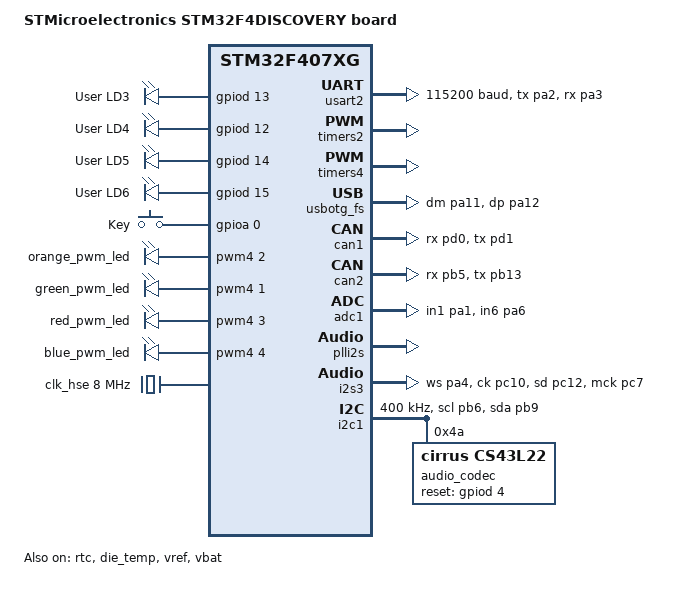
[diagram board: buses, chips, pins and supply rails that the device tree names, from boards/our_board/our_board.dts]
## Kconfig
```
menuconfig LED_SUBSYSTEM
	bool "LED Subsystem"
	default y

if LED_SUBSYSTEM
	choice
		prompt  "LED blink sleep time (1s (medium))"
		default BLINK_SLEEP_1000MS

		config BLINK_SLEEP_250MS
			bool "Very Fast"

		config BLINK_SLEEP_500MS
			bool "Fast"

		config BLINK_SLEEP_1000MS
			bool "Medium"

		config BLINK_SLEEP_2000MS
			bool "Slow"

	endchoice

	config BLINK_SLEEP_TIME_MS
		int
		default 250 if BLINK_SLEEP_250MS
		default 500 if BLINK_SLEEP_500MS
		default 1000 if BLINK_SLEEP_1000MS
		default 2000 if BLINK_SLEEP_2000MS
		default 0

	menuconfig ADVANCED_LED_SETTINGS
		bool "Advance LED Settings"
		default n

	if ADVANCED_LED_SETTINGS
		config LED_BRIGHTNESS
			int "LED Brightness (0-100)"
			default 100
			range 0 100

		config LED_FADE_DURATION
			int "LED Fade duration (ms)"
			default 500
	endif
	menu "Expert Settings"
		visible if ADVANCED_LED_SETTINGS

	config LED_DEBUG
		bool "Enable LED Debug"

	config CUSTOM_BUILD_PATTERN
		bool "Custom Build Pattern"

	endmenu
endif

config LED_HEARTBEAT_PERIOD_MS
	int "LED Heart beats (ms)"
	default 500
	range 100 2000

source "Kconfig.zephyr"
rsource "drivers/our_driver/Kconfig"
```

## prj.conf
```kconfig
CONFIG_GPIO=y
CONFIG_LOG=y
#CONFIG_BLINK_SLEEP_TIME_MS=100
CONFIG_OUR_DRIVER=y
CONFIG_SHELL=y
CONFIG_SHELL_BACKEND_SERIAL=y
```

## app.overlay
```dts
/{
    our_driver0: our_driver {
        compatible = "our,driver";
        status = "okay";
    };

    our_driver1: our_driver1 {
        compatible = "our,driver";
        status = "okay";
    };
};
```

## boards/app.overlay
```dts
/ {
	aliases {
		app-led = &green_led_4;
	};
};
```

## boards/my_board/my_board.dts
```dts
/*
 * Copyright (c) 2017 Linaro Limited
 *
 * SPDX-License-Identifier: Apache-2.0
 */

/dts-v1/;
#include <st/f4/stm32f407Xg.dtsi>
#include <st/f4/stm32f407v(e-g)tx-pinctrl.dtsi>

/ {
	model = "My board";
	compatible = "keval,my_board";

	chosen {
		zephyr,console = &usart2;
		zephyr,shell-uart = &usart2;
		zephyr,sram = &sram0;
		zephyr,flash = &flash0;
	};

	leds {
		compatible = "gpio-leds";

		orange_led_3: led_3 {
			gpios = <&gpiod 13 GPIO_ACTIVE_HIGH>;
			label = "User LD3";
		};

		green_led_4: led_4 {
			gpios = <&gpiod 12 GPIO_ACTIVE_HIGH>;
			label = "User LD4";
		};

		red_led_5: led_5 {
			gpios = <&gpiod 14 GPIO_ACTIVE_HIGH>;
			label = "User LD5";
		};

		blue_led_6: led_6 {
			gpios = <&gpiod 15 GPIO_ACTIVE_HIGH>;
			label = "User LD6";
		};
	};

	aliases {
		led0 = &green_led_4;
		led1 = &orange_led_3;
		led2 = &red_led_5;
		led3 = &blue_led_6;
	};
};

&clk_lsi {
	status = "okay";
};

&clk_hse {
	clock-frequency = <DT_FREQ_M(8)>;
	status = "okay";
};

&pll {
	mul-n = <336>;
	div-m = <8>;
	div-p = <2>;
	div-q = <7>;
	clocks = <&clk_hse>;
	status = "okay";
};

&rcc {
	clocks = <&pll>;
	clock-frequency = <DT_FREQ_M(168)>;
	ahb-prescaler = <1>;
	apb1-prescaler = <4>;
	apb2-prescaler = <2>;
};

&usart2 {
	pinctrl-0 = <&usart2_tx_pa2 &usart2_rx_pa3>;
	pinctrl-names = "default";
	current-speed = <115200>;
	status = "okay";
};
```

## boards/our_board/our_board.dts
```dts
/*
 * Copyright (c) 2017 Linaro Limited
 *
 * SPDX-License-Identifier: Apache-2.0
 */

/dts-v1/;
#include <st/f4/stm32f407Xg.dtsi>
#include <st/f4/stm32f407v(e-g)tx-pinctrl.dtsi>
#include <zephyr/dt-bindings/input/input-event-codes.h>

/ {
	model = "STMicroelectronics STM32F4DISCOVERY board";
	compatible = "st,stm32f4discovery";

	chosen {
		zephyr,console = &usart2;
		zephyr,shell-uart = &usart2;
		zephyr,sram = &sram0;
		zephyr,flash = &flash0;
		zephyr,dtcm = &ccm0;
		zephyr,canbus = &can2;
	};

	leds {
		compatible = "gpio-leds";

		orange_led_3: led_3 {
			gpios = <&gpiod 13 GPIO_ACTIVE_HIGH>;
			label = "User LD3";
		};

		green_led_4: led_4 {
			gpios = <&gpiod 12 GPIO_ACTIVE_HIGH>;
			label = "User LD4";
		};

		red_led_5: led_5 {
			gpios = <&gpiod 14 GPIO_ACTIVE_HIGH>;
			label = "User LD5";
		};

		blue_led_6: led_6 {
			gpios = <&gpiod 15 GPIO_ACTIVE_HIGH>;
			label = "User LD6";
		};
	};

	gpio_keys {
		compatible = "gpio-keys";

		user_button: button {
			label = "Key";
			gpios = <&gpioa 0 GPIO_ACTIVE_HIGH>;
			zephyr,code = <INPUT_KEY_0>;
		};
	};

	pwmleds: pwmleds {
		compatible = "pwm-leds";

		orange_pwm_led: orange_pwm_led {
			pwms = <&pwm4 2 PWM_USEC(100) PWM_POLARITY_NORMAL>;
		};

		green_pwm_led: green_pwm_led {
			pwms = <&pwm4 1 PWM_USEC(100) PWM_POLARITY_NORMAL>;
		};

		red_pwm_led: red_pwm_led {
			pwms = <&pwm4 3 PWM_USEC(100) PWM_POLARITY_NORMAL>;
		};

		blue_pwm_led: blue_pwm_led {
			pwms = <&pwm4 4 PWM_USEC(100) PWM_POLARITY_NORMAL>;
		};
	};

	aliases {
		led0 = &green_led_4;
		led1 = &orange_led_3;
		led2 = &red_led_5;
		led3 = &blue_led_6;
		sw0 = &user_button;
		die-temp0 = &die_temp;
		volt-sensor0 = &vref;
		volt-sensor1 = &vbat;
	};
};

&clk_lsi {
	status = "okay";
};

&clk_hse {
	clock-frequency = <DT_FREQ_M(8)>;
	status = "okay";
};

&pll {
	mul-n = <336>;
	div-m = <8>;
	div-p = <2>;
	div-q = <7>;
	clocks = <&clk_hse>;
	status = "okay";
};

&rcc {
	clocks = <&pll>;
	clock-frequency = <DT_FREQ_M(168)>;
	ahb-prescaler = <1>;
	apb1-prescaler = <4>;
	apb2-prescaler = <2>;
};

&usart2 {
	pinctrl-0 = <&usart2_tx_pa2 &usart2_rx_pa3>;
	pinctrl-names = "default";
	current-speed = <115200>;
	status = "okay";
};

&timers2 {
	status = "okay";

	pwm2: pwm {
		status = "okay";
		pinctrl-0 = <&tim2_ch1_pa0>;
		pinctrl-names = "default";
	};
};

&timers4 {
	status = "okay";

	pwm4: pwm {
		status = "okay";
		pinctrl-0 = <&tim4_ch1_pd12 &tim4_ch2_pd13 &tim4_ch3_pd14 &tim4_ch4_pd15>;
		pinctrl-names = "default";
	};
};

&rtc {
	clocks = <&rcc STM32_CLOCK(APB1, 28)>,
		 <&rcc STM32_SRC_LSI RTC_SEL(2)>;
	status = "okay";

	backup_regs {
		status = "okay";
	};
};

zephyr_udc0: &usbotg_fs {
	pinctrl-0 = <&usb_otg_fs_dm_pa11 &usb_otg_fs_dp_pa12>;
	pinctrl-names = "default";
	status = "okay";
};

&can1 {
	pinctrl-0 = <&can1_rx_pd0 &can1_tx_pd1>;
	pinctrl-names = "default";
	status = "okay";
};

&can2 {
	pinctrl-0 = <&can2_rx_pb5 &can2_tx_pb13>;
	pinctrl-names = "default";
	status = "okay";
};

&adc1 {
	pinctrl-0 = <&adc1_in1_pa1 &adc1_in6_pa6>;
	pinctrl-names = "default";
	st,adc-prescaler = <2>;
	status = "okay";
};

&die_temp {
	status = "okay";
};

&vref {
	status = "okay";
};

&vbat {
	status = "okay";
};

&dma1 {
	status = "okay";
};

&plli2s {
	/* Minimize audio clock error (with i2s mck-enabled) for all of:
	 * - 22.05kHz / 16b, 24b or 32b
	 * - 44.1kHz  / 16b, 24b or 32b
	 * - 88.2kHz  / 16b or 24b
	 * Note: because the PLLI2S is dependent on the main PLL, the latter
	 *       should not be changed without checking impact on PLLI2S
	 */
	mul-n = <271>;
	div-r = <2>;
	clocks = <&clk_hse>;
	status = "okay";
};

&i2s3 {
	mck-enabled;
	pinctrl-0 = <&i2s3_ws_pa4 &i2s3_ck_pc10 &i2s3_sd_pc12 &i2s3_mck_pc7>;
	pinctrl-names = "default";
	clocks = <&rcc STM32_CLOCK(APB1, 15)>,
		 <&rcc STM32_SRC_PLLI2S_R I2S_SEL(0)>;
	status = "okay";
};

&i2c1 {
	clock-frequency = <I2C_BITRATE_FAST>;
	pinctrl-0 = <&i2c1_scl_pb6 &i2c1_sda_pb9>;
	pinctrl-names = "default";
	status = "okay";

	audio_codec: cs43l22@4a {
		compatible = "cirrus,cs43l22";
		reg = <0x4a>;
		reset-gpios = <&gpiod 4 0>;
	};
};
```

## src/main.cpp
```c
#include <zephyr/drivers/sensor.h>
#include <zephyr/drivers/gpio.h>
#include <zephyr/kernel.h>
#include <zephyr/logging/log.h>
#include "../drivers/our_driver/our_driver.h"

LOG_MODULE_REGISTER(main, LOG_LEVEL_INF);

int main(void)
{
    int ret, ret1;
    bool led_state = true;
    const struct device *driver = DEVICE_DT_GET(DT_NODELABEL(our_driver0));
    struct sensor_value val;

    our_driver_custom_param(driver, 7);

    while (1) {
        led_state = !led_state;
        LOG_INF("LED state: %s", led_state ? "ON" : "OFF");
	ret = sensor_channel_get(driver, SENSOR_CHAN_AMBIENT_TEMP, &val);
        k_msleep(CONFIG_LED_HEARTBEAT_PERIOD_MS);
	ret = sensor_sample_fetch(driver);
	k_msleep(CONFIG_LED_HEARTBEAT_PERIOD_MS);
    }

    return 0;
}
```
